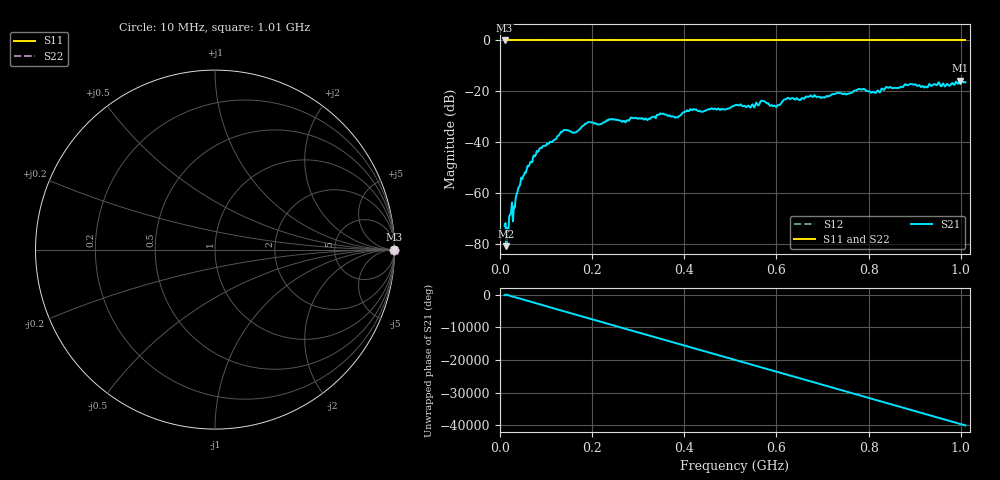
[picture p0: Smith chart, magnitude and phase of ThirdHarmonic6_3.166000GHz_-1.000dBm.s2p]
! 8/17/2025 9:31:17 AM
! C:\ANRITSUVNA\TEMP\TEMP.S2P
! CHANNEL.1
! TR.MEASUREMENT
! RAW.DATA
! RF.CORRECTION.OFF
! AVERAGING.OFF
! IF.BANDWIDTH: 5KHZ
! SWEEPTYPE:  FREQ.SWEEP(Linear)
! Reference Plane Port Info
! PORT:  PORT1  PORT2
! DISTANCE:  0  m  0  m
! TIME:  0  s  0  s
! PHASE.OFFSET:  0  deg.  0  deg.
! LOSS:  0  dB  0  dB
! REF.LOSS:  0  dB  0  dB
! REF.FREQ:  0  Hz  0  Hz
! Power Info
! POWER:  -20  dBm  -20  dBm
! EFF.POWER:  -20  dBm  -20  dBm
! SOURCE.ATTEN:  0  dB  0  dB
! TEST.ATTEN:  0  dB  0  dB
# GHZ S RI R 50.0
! FREQ.GHZ  S11RE  S11IM  S21RE  S21IM  S12RE  S12IM  S22RE  S22IM
!; PortSelection: Port_12
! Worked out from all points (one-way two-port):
!   501 points, 10 MHz to 1.01 GHz, reference 50 ohm
!   highest |S21| = -15.75 dB at 998 MHz (marker M1); lowest = -80.8 dB at 14 MHz (marker M2)
!   lowest |S11| = 0.0 dB at 10 MHz (marker M3)
!   |S11| at or under -10 dB: nowhere
!   |S22| runs from 0.0 to 0.0 dB; largest |S21 - S12| = 1.1
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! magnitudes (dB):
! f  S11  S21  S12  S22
! 10 MHz  0.0  -72.7  0.0  0.0
! 14 MHz  0.0  -80.8  0.0  0.0
! 18 MHz  0.0  -75.3  0.0  0.0
! 22 MHz  0.0  -68.4  0.0  0.0
! 32 MHz  0.0  -65.7  0.0  0.0
! 44 MHz  0.0  -56.4  0.0  0.0
! 76 MHz  0.0  -45.5  0.0  0.0
! 136 MHz  0.0  -35.6  0.0  0.0
! 162 MHz  0.0  -36.2  0.0  0.0
! 178 MHz  0.0  -33.7  0.0  0.0
! 344 MHz  0.0  -29.3  0.0  0.0
! 382 MHz  0.0  -30.1  0.0  0.0
! 416 MHz  0.0  -27.4  0.0  0.0
! 510 MHz  0.0  -25.5  0.0  0.0
! 548 MHz  0.0  -25.1  0.0  0.0
! 570 MHz  0.0  -23.8  0.0  0.0
! 596 MHz  0.0  -25.6  0.0  0.0
! 622 MHz  0.0  -22.9  0.0  0.0
! 678 MHz  0.0  -22.2  0.0  0.0
! 844 MHz  0.0  -18.5  0.0  0.0
! 998 MHz  0.0  -15.8  0.0  0.0
! 1.01 GHz  0.0  -16.4  0.0  0.0
